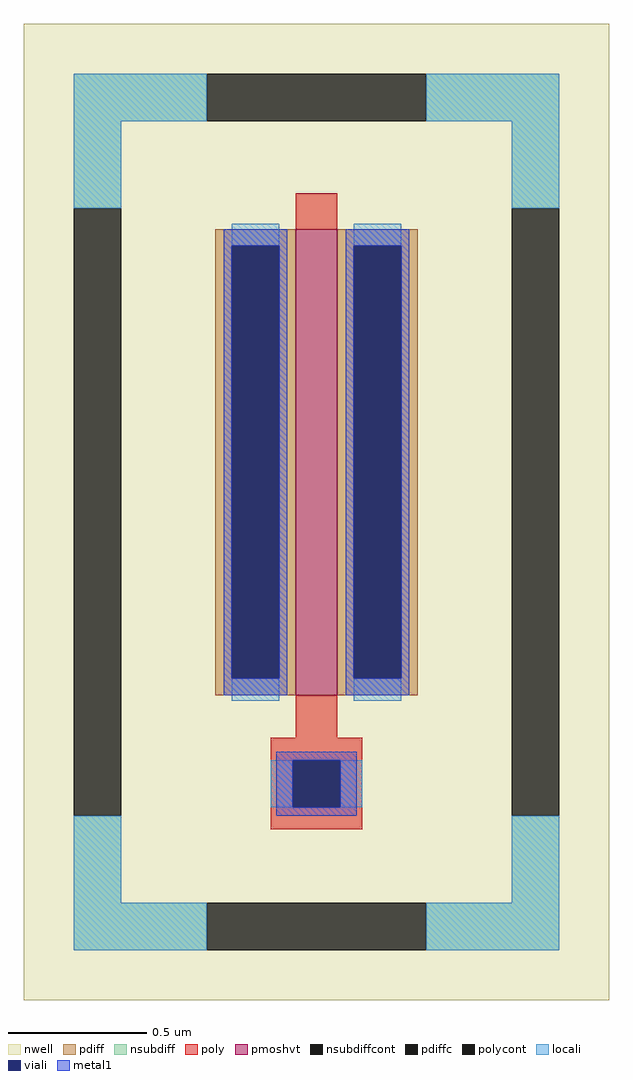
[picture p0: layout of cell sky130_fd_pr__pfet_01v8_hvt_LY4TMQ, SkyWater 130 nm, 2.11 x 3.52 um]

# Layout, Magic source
magic
tech sky130A
magscale 1 2
<< nwell >>
rect -211 -352 211 352
<< pmoshvt >>
rect -15 -132 15 204
<< pdiff >>
rect -73 192 -15 204
rect -73 -120 -61 192
rect -27 -120 -15 192
rect -73 -132 -15 -120
rect 15 192 73 204
rect 15 -120 27 192
rect 61 -120 73 192
rect 15 -132 73 -120
<< pdiffc >>
rect -61 -120 -27 192
rect 27 -120 61 192
<< nsubdiff >>
rect -175 282 -79 316
rect 79 282 175 316
rect -175 219 -141 282
rect 141 219 175 282
rect -175 -282 -141 -219
rect 141 -282 175 -219
rect -175 -316 -79 -282
rect 79 -316 175 -282
<< nsubdiffcont >>
rect -79 282 79 316
rect -175 -219 -141 219
rect 141 -219 175 219
rect -79 -316 79 -282
<< poly >>
rect -15 204 15 230
rect -15 -163 15 -132
rect -33 -179 33 -163
rect -33 -213 -17 -179
rect 17 -213 33 -179
rect -33 -229 33 -213
<< polycont >>
rect -17 -213 17 -179
<< locali >>
rect -175 282 -79 316
rect 79 282 175 316
rect -175 219 -141 282
rect 141 219 175 282
rect -61 192 -27 208
rect -61 -136 -27 -120
rect 27 192 61 208
rect 27 -136 61 -120
rect -33 -213 -17 -179
rect 17 -213 33 -179
rect -175 -282 -141 -219
rect 141 -282 175 -219
rect -175 -316 -79 -282
rect 79 -316 175 -282
<< viali >>
rect -61 -120 -27 192
rect 27 -120 61 192
rect -17 -213 17 -179
<< metal1 >>
rect -67 192 -21 204
rect -67 -120 -61 192
rect -27 -120 -21 192
rect -67 -132 -21 -120
rect 21 192 67 204
rect 21 -120 27 192
rect 61 -120 67 192
rect 21 -132 67 -120
rect -29 -179 29 -173
rect -29 -213 -17 -179
rect 17 -213 29 -179
rect -29 -219 29 -213
<< properties >>
string FIXED_BBOX -158 -299 158 299
string gencell sky130_fd_pr__pfet_01v8_hvt
string library sky130
string parameters w 1.68 l 0.15 m 1 nf 1 diffcov 100 polycov 100 guard 1 glc 1 grc 1 gtc 1 gbc 1 tbcov 100 rlcov 100 topc 0 botc 1 poverlap 0 doverlap 1 lmin 0.15 wmin 0.42 compatible {sky130_fd_pr__pfet_01v8  sky130_fd_pr__pfet_01v8_lvt sky130_fd_pr__pfet_01v8_hvt  sky130_fd_pr__pfet_g5v0d10v5} full_metal 1 viasrc 100 viadrn 100 viagate 100 viagb 0 viagr 0 viagl 0 viagt 0
<< end >>
